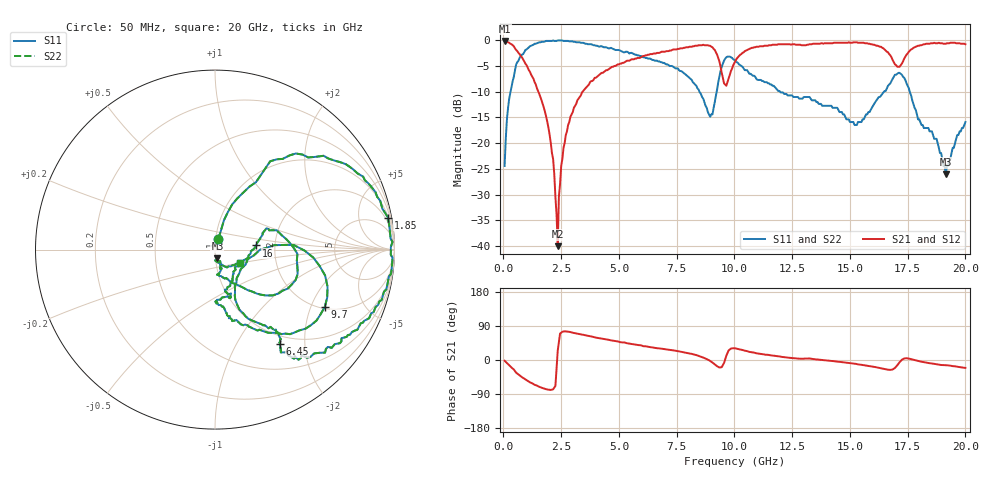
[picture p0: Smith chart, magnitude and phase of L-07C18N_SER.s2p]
#	mhz	s	ma	r	50
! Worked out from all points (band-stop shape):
!   400 points, 50 MHz to 20 GHz, reference 50 ohm
!   highest |S21| = -0.18 dB at 50 MHz (marker M1); lowest = -40.0 dB at 2.35 GHz (marker M2)
!   |S21| within 3 dB of the highest: 6.019 GHz to 9.276 GHz (3.257 GHz wide, 42.6 % of centre); 10.18 GHz to 16.78 GHz (6.592 GHz wide, 48.9 % of centre) (the widest 2 of 4)
!   lowest |S11| = -26.0 dB at 19.15 GHz (marker M3), VSWR 1.11, Z = 51.1 - j4.94 ohm
!   |S11| at or under -10 dB: 8.484 GHz to 9.234 GHz (749.4 MHz wide, 8.46 % of centre); 11.97 GHz to 16.48 GHz (4.513 GHz wide, 31.7 % of centre); 17.59 GHz to end of sweep (the widest 3 of 4)
!   |S22| runs from -26.0 to -0.1 dB; largest |S21 - S12| = 0
!   S11 on the Smith chart (normalised r, x): 50 MHz: 1.03, +0.12; 1.85 GHz: 1, +11; 6.45 GHz: 0.86, -1.54; 9.7 GHz: 2.08, -2.53; 16 GHz: 1.59, +0.08; 20 GHz: 1.31, -0.20
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50  0.06 72.3  0.98 -2.0  0.98 -2.0  0.06 72.3
200  0.22 71.1  0.95 -11.0  0.95 -11.0  0.22 71.1
550  0.58 58.0  0.8 -33.5  0.8 -33.5  0.58 58.0
1850  0.98 10.5  0.18 -77.1  0.18 -77.1  0.98 10.5
2150  0.99 2.5  0.07 -77.4  0.07 -77.4  0.99 2.5
2350  0.99 -2.6  0.01 24.6  0.01 24.6  0.99 -2.6
2400  0.99 -4.1  0.03 47.0  0.03 47.0  0.99 -4.1
2600  0.98 -8.8  0.09 75.2  0.09 75.2  0.98 -8.8
3400  0.94 -23.1  0.31 67.0  0.31 67.0  0.94 -23.1
6450  0.64 -55.6  0.73 33.1  0.73 33.1  0.64 -55.6
6700  0.62 -54.2  0.75 30.9  0.75 30.9  0.62 -54.2
8950  0.18 -36.8  0.88 -2.5  0.88 -2.5  0.18 -36.8
9350  0.44 3.3  0.62 -19.9  0.62 -19.9  0.44 3.3
9700  0.69 -27.5  0.39 18.4  0.39 18.4  0.69 -27.5
10050  0.63 -48.4  0.63 30.6  0.63 30.6  0.63 -48.4
11150  0.41 -76.4  0.87 15.9  0.87 15.9  0.41 -76.4
13350  0.26 -69.9  0.91 3.1  0.91 3.1  0.26 -69.9
16000  0.23 5.7  0.9 -17.6  0.9 -17.6  0.23 5.7
16700  0.37 14.8  0.73 -25.8  0.73 -25.8  0.37 14.8
17450  0.38 -42.2  0.72 4.8  0.72 4.8  0.38 -42.2
19150  0.05 -74.4  0.92 -13.7  0.92 -13.7  0.05 -74.4
20000  0.16 -27.6  0.91 -20.7  0.91 -20.7  0.16 -27.6
